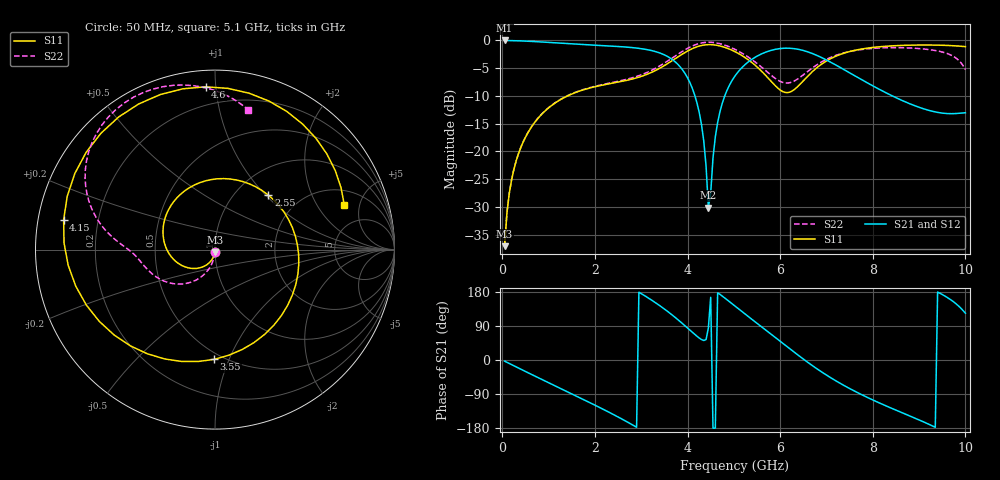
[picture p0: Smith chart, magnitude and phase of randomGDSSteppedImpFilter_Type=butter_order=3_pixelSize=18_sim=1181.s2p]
! freq	dB(S11)	phase(S11)	dB(S12)	phase(S12)
!  dB(S21)	phase(S21)	dB(S22)	phase(S22)
!S-par simulation data
#  GHz  S  DB  R 50
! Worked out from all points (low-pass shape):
!   200 points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, 50 MHz to 10 GHz, reference 50 ohm
!   highest |S21| = -0.01 dB at 50 MHz (marker M1); lowest = -30.1 dB at 4.45 GHz (marker M2)
!   |S21| within 3 dB of the highest: start of sweep to 3.591 GHz; 5.465 GHz to 6.873 GHz (1.408 GHz wide, 22.8 % of centre)
!   lowest |S11| = -37.1 dB at 50 MHz (marker M3), VSWR 1.03, Z = 49.9 - j1.39 ohm
!   |S11| at or under -10 dB: start of sweep to 1.408 GHz
!   |S22| runs from -37.0 to -0.3 dB; largest |S21 - S12| = 0
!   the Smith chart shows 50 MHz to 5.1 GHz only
!   S11 on the Smith chart (normalised r, x): 50 MHz: 1.00, -0.03; 2.55 GHz: 1.40, +1.04; 3.55 GHz: 0.45, -0.88; 4.15 GHz: 0.08, +0.10; 4.6 GHz: 0.09, +0.94; 5.1 GHz: 2.97, +3.55
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0.05  -37.08 -93.7  -0.01 -3.1  -0.01 -3.1  -37.02 -91.5
0.2  -25.14 -106.1  -0.03 -12.2  -0.03 -12.2  -25.12 -98.4
0.5  -17.45 -130.4  -0.12 -30.3  -0.12 -30.3  -17.42 -111.1
1.75  -8.90 125.7  -0.74 -104.2  -0.74 -104.2  -8.84 -155.2
2.55  -7.43 45.6  -1.12 -153.6  -1.12 -153.6  -7.27 -173.6
3  -6.49 -9.8  -1.48 175.2  -1.48 175.2  -6.19 179.3
3.4  -5.01 -67.1  -2.26 143.4  -2.26 143.4  -4.59 172.1
3.55  -4.27 -90.5  -2.81 130.1  -2.81 130.1  -3.82 168.1
3.85  -2.66 -139.7  -4.86 100.5  -4.86 100.5  -2.17 156.4
4.15  -1.31 168.8  -9.73 68.3  -9.73 68.3  -0.84 139.1
4.35  -0.84 134.5  -18.09 51.5  -18.09 51.5  -0.39 125.4
4.45  -0.76 117.7  -30.12 84.4  -30.12 84.4  -0.33 118.3
4.6  -0.83 93.3  -17.38 -179.8  -17.38 -179.8  -0.42 107.8
5.05  -2.13 26.2  -6.12 139.7  -6.12 139.7  -1.72 79.4
5.1  -2.36 19.2  -5.59 134.9  -5.59 134.9  -1.94 76.6
5.75  -6.86 -78.6  -1.93 73.3  -1.93 73.3  -5.88 51.5
6.2  -9.34 -176.9  -1.40 30.5  -1.40 30.5  -7.63 57.0
6.7  -5.58 90.3  -2.38 -15.2  -2.38 -15.2  -4.93 53.8
7.5  -2.01 13.7  -5.84 -75.3  -5.84 -75.3  -1.99 11.5
8.35  -1.01 -33.7  -9.71 -124.5  -9.71 -124.5  -1.31 -40.0
9.3  -0.84 -70.5  -12.79 -174.6  -12.79 -174.6  -1.75 -104.0
10  -1.12 -91.7  -13.03 123.5  -13.03 123.5  -5.25 175.7
